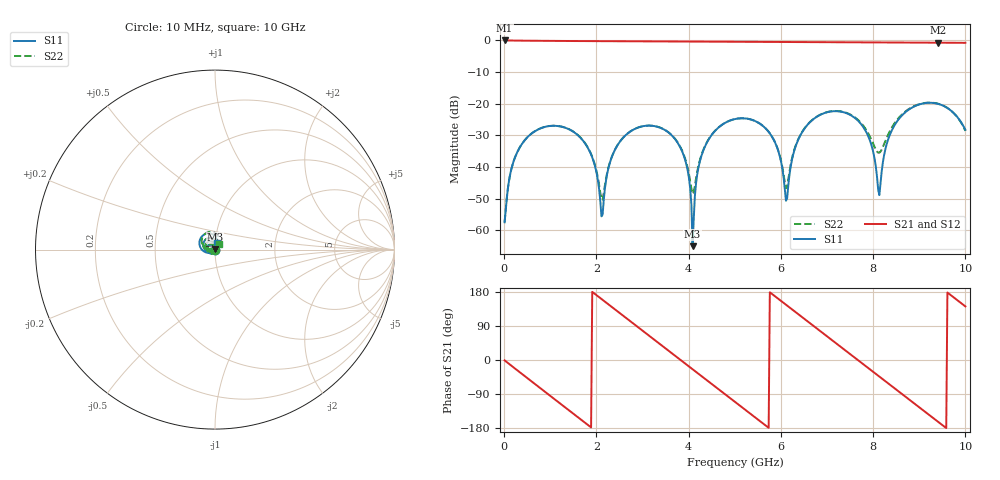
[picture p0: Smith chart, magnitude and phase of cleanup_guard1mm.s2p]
! Layout cleanup equivalence validation - 38 mm 50 ohm stripline
! Case: Cleanup, 1 mm guard - the +/-0.5 mm pair kept
! Solver: Ansys HFSS 3D Layout 2026 R1, broadband adaptive 1-5 GHz,
!  Delta S 0.02, interpolating sweep 10 MHz - 10 GHz
# GHz S MA R 50.000000
! Terminal data exported
! Port[1] = U1.PAD1.SIG
! Port[2] = U2.PAD1.SIG
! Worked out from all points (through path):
!   401 points, 10 MHz to 10 GHz, reference 50 ohm
!   highest |S21| = -0.01 dB at 10 MHz (marker M1); lowest = -0.8 dB at 9.41 GHz (marker M2)
!   group delay of S21, straight-line fit = 261 ps
!   lowest |S11| = -65.0 dB at 4.085 GHz (marker M3), VSWR 1.00, Z = 50 + j0.0564 ohm
!   |S11| at or under -10 dB: start of sweep to end of sweep
!   |S22| runs from -57.4 to -19.6 dB; largest |S21 - S12| = 1.7e-14
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0.01  0.001347 -14.7  0.9986 -1.0  0.9986 -1.0  0.001347 -14.7
0.185  0.01109 -89.2  0.9945 -17.7  0.9945 -17.7  0.0111 -89.0
0.51  0.0299 -130.2  0.9892 -48.5  0.9892 -48.5  0.02995 -129.6
1.085  0.04487 171.0  0.9818 -102.7  0.9818 -102.7  0.045 172.8
1.685  0.02753 111.2  0.9765 -159.1  0.9765 -159.1  0.02775 117.9
2.11  0.001669 10.1  0.9731 161.0  0.9731 161.0  0.00308 145.8
2.51  0.02526 -141.3  0.9694 123.4  0.9694 123.4  0.02532 -152.3
3.36  0.04245 136.6  0.9619 43.7  0.9619 43.7  0.04261 134.1
3.86  0.01764 89.7  0.9587 -3.2  0.9587 -3.2  0.01809 95.6
4.085  0.0005649 87.4  0.9571 -24.4  0.9571 -24.4  0.003779 144.2
4.36  0.02166 -138.5  0.9548 -50.2  0.9548 -50.2  0.02196 -152.0
5.01  0.05744 161.1  0.9486 -111.1  0.9486 -111.1  0.05754 155.4
5.76  0.03404 94.0  0.9445 178.7  0.9445 178.7  0.03416 92.5
6.11  0.00295 127.2  0.9427 145.8  0.9427 145.8  0.004642 132.8
6.335  0.02291 -151.4  0.9409 124.7  0.9409 124.7  0.02337 -158.3
6.685  0.05561 180.0  0.9372 91.9  0.9372 91.9  0.05598 177.1
7.66  0.05508 89.2  0.9307 0.7  0.9307 0.7  0.05663 99.7
8.135  0.00361 -55.1  0.929 -43.9  0.929 -43.9  0.01691 135.9
8.335  0.02867 -142.9  0.9273 -62.7  0.9273 -62.7  0.03367 172.4
8.835  0.08633 167.2  0.9206 -109.7  0.9206 -109.7  0.08779 147.9
9.41  0.09954 115.2  0.9161 -163.3  0.9161 -163.3  0.1001 100.5
10  0.03877 74.0  0.9162 141.4  0.9162 141.4  0.03737 53.3
